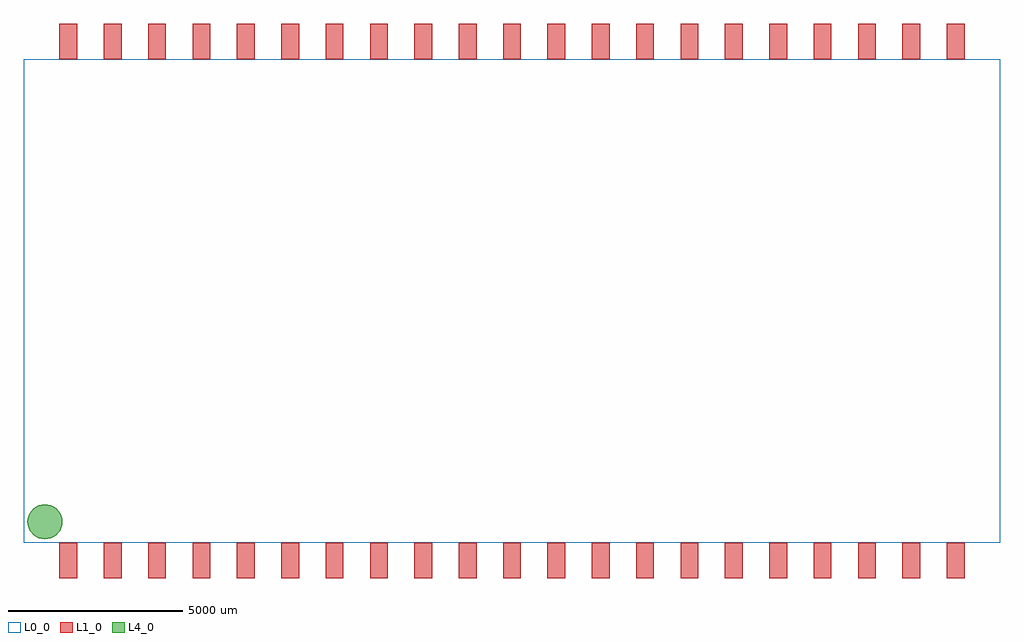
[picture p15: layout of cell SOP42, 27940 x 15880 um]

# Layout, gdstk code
import gdstk
lib = gdstk.Library(unit=1e-6, precision=1e-09)
def R(c, l, rs):  # rectangles x0, y0, x1, y1
    for r in rs: c.add(gdstk.rectangle(r[:2], r[2:], *l))
def A(c, l, x, y, w, h, nx, ny, dx, dy):  # array of equal rectangles
    R(c, l, [(x+i*dx, y+j*dy, x+i*dx+w, y+j*dy+h) for i in range(nx) for j in range(ny)])
def P(c, l, *ps):  # polygons
    for p in ps: c.add(gdstk.Polygon(p, *l))
L0_0 = (0, 0)
L1_0 = (1, 0)
L4_0 = (4, 0)
L99_1 = (99, 1)
L99_2 = (99, 2)
L99_3 = (99, 3)
L99_4 = (99, 4)
L99_5 = (99, 5)
L99_6 = (99, 6)
L99_7 = (99, 7)
L99_8 = (99, 8)
L99_9 = (99, 9)
L99_10 = (99, 10)
L99_11 = (99, 11)
L99_12 = (99, 12)
L99_13 = (99, 13)
L99_14 = (99, 14)
L99_15 = (99, 15)
L99_16 = (99, 16)
L99_17 = (99, 17)
L99_18 = (99, 18)
L99_19 = (99, 19)
L99_20 = (99, 20)
L99_21 = (99, 21)
L99_22 = (99, 22)
L99_23 = (99, 23)
L99_24 = (99, 24)
L99_25 = (99, 25)
L99_26 = (99, 26)
L99_27 = (99, 27)
L99_28 = (99, 28)
L99_29 = (99, 29)
L99_30 = (99, 30)
L99_31 = (99, 31)
L99_32 = (99, 32)
L99_33 = (99, 33)
L99_34 = (99, 34)
L99_35 = (99, 35)
L99_36 = (99, 36)
L99_37 = (99, 37)
L99_38 = (99, 38)
L99_39 = (99, 39)
L99_40 = (99, 40)
L99_41 = (99, 41)
L99_42 = (99, 42)

sop42 = lib.new_cell('SOP42')
R(sop42, L0_0, [(0,0,27940,13840)])
A(sop42, L1_0, 1015, -1020, 510, 1020, 21, 2, 1270, 14860)
P(sop42, L4_0, [(1100,600),(1092.404,513.176),(1069.846,428.99),(1033.013,350),(983.022,278.606),(921.394,216.978),(850,166.987),(771.01,130.154),(686.824,107.596),(600,100),(513.176,107.596),(428.99,130.154),(350,166.987),(278.606,216.978),(216.978,278.606),(166.987,350),(130.154,428.99),(107.596,513.176),(100,600),(107.596,686.824),(130.154,771.01),(166.987,850),(216.978,921.394),(278.606,983.022),(350,1033.013),(428.99,1069.846),(513.176,1092.404),(600,1100),(686.824,1092.404),(771.01,1069.846),(850,1033.013),(921.394,983.022),(983.022,921.394),(1033.013,850),(1069.846,771.01),(1092.404,686.824)])
sop42.add(gdstk.FlexPath([(1525,0),(1015,0)], 0, ends="round", simple_path=True, layer=99, datatype=1))  # L99_1
sop42.add(gdstk.FlexPath([(2795,0),(2285,0)], 0, ends="round", simple_path=True, layer=99, datatype=2))  # L99_2
sop42.add(gdstk.FlexPath([(4065,0),(3555,0)], 0, ends="round", simple_path=True, layer=99, datatype=3))  # L99_3
sop42.add(gdstk.FlexPath([(5335,0),(4825,0)], 0, ends="round", simple_path=True, layer=99, datatype=4))  # L99_4
sop42.add(gdstk.FlexPath([(6605,0),(6095,0)], 0, ends="round", simple_path=True, layer=99, datatype=5))  # L99_5
sop42.add(gdstk.FlexPath([(7875,0),(7365,0)], 0, ends="round", simple_path=True, layer=99, datatype=6))  # L99_6
sop42.add(gdstk.FlexPath([(9145,0),(8635,0)], 0, ends="round", simple_path=True, layer=99, datatype=7))  # L99_7
sop42.add(gdstk.FlexPath([(10415,0),(9905,0)], 0, ends="round", simple_path=True, layer=99, datatype=8))  # L99_8
sop42.add(gdstk.FlexPath([(11685,0),(11175,0)], 0, ends="round", simple_path=True, layer=99, datatype=9))  # L99_9
sop42.add(gdstk.FlexPath([(12955,0),(12445,0)], 0, ends="round", simple_path=True, layer=99, datatype=10))  # L99_10
sop42.add(gdstk.FlexPath([(14225,0),(13715,0)], 0, ends="round", simple_path=True, layer=99, datatype=11))  # L99_11
sop42.add(gdstk.FlexPath([(15495,0),(14985,0)], 0, ends="round", simple_path=True, layer=99, datatype=12))  # L99_12
sop42.add(gdstk.FlexPath([(16765,0),(16255,0)], 0, ends="round", simple_path=True, layer=99, datatype=13))  # L99_13
sop42.add(gdstk.FlexPath([(18035,0),(17525,0)], 0, ends="round", simple_path=True, layer=99, datatype=14))  # L99_14
sop42.add(gdstk.FlexPath([(19305,0),(18795,0)], 0, ends="round", simple_path=True, layer=99, datatype=15))  # L99_15
sop42.add(gdstk.FlexPath([(20575,0),(20065,0)], 0, ends="round", simple_path=True, layer=99, datatype=16))  # L99_16
sop42.add(gdstk.FlexPath([(21845,0),(21335,0)], 0, ends="round", simple_path=True, layer=99, datatype=17))  # L99_17
sop42.add(gdstk.FlexPath([(23115,0),(22605,0)], 0, ends="round", simple_path=True, layer=99, datatype=18))  # L99_18
sop42.add(gdstk.FlexPath([(24385,0),(23875,0)], 0, ends="round", simple_path=True, layer=99, datatype=19))  # L99_19
sop42.add(gdstk.FlexPath([(25655,0),(25145,0)], 0, ends="round", simple_path=True, layer=99, datatype=20))  # L99_20
sop42.add(gdstk.FlexPath([(26925,0),(26415,0)], 0, ends="round", simple_path=True, layer=99, datatype=21))  # L99_21
sop42.add(gdstk.FlexPath([(1015,13840),(1525,13840)], 0, ends="round", simple_path=True, layer=99, datatype=42))  # L99_42
sop42.add(gdstk.FlexPath([(2285,13840),(2795,13840)], 0, ends="round", simple_path=True, layer=99, datatype=41))  # L99_41
sop42.add(gdstk.FlexPath([(3555,13840),(4065,13840)], 0, ends="round", simple_path=True, layer=99, datatype=40))  # L99_40
sop42.add(gdstk.FlexPath([(4825,13840),(5335,13840)], 0, ends="round", simple_path=True, layer=99, datatype=39))  # L99_39
sop42.add(gdstk.FlexPath([(6095,13840),(6605,13840)], 0, ends="round", simple_path=True, layer=99, datatype=38))  # L99_38
sop42.add(gdstk.FlexPath([(7365,13840),(7875,13840)], 0, ends="round", simple_path=True, layer=99, datatype=37))  # L99_37
sop42.add(gdstk.FlexPath([(8635,13840),(9145,13840)], 0, ends="round", simple_path=True, layer=99, datatype=36))  # L99_36
sop42.add(gdstk.FlexPath([(9905,13840),(10415,13840)], 0, ends="round", simple_path=True, layer=99, datatype=35))  # L99_35
sop42.add(gdstk.FlexPath([(11175,13840),(11685,13840)], 0, ends="round", simple_path=True, layer=99, datatype=34))  # L99_34
sop42.add(gdstk.FlexPath([(12445,13840),(12955,13840)], 0, ends="round", simple_path=True, layer=99, datatype=33))  # L99_33
sop42.add(gdstk.FlexPath([(13715,13840),(14225,13840)], 0, ends="round", simple_path=True, layer=99, datatype=32))  # L99_32
sop42.add(gdstk.FlexPath([(14985,13840),(15495,13840)], 0, ends="round", simple_path=True, layer=99, datatype=31))  # L99_31
sop42.add(gdstk.FlexPath([(16255,13840),(16765,13840)], 0, ends="round", simple_path=True, layer=99, datatype=30))  # L99_30
sop42.add(gdstk.FlexPath([(17525,13840),(18035,13840)], 0, ends="round", simple_path=True, layer=99, datatype=29))  # L99_29
sop42.add(gdstk.FlexPath([(18795,13840),(19305,13840)], 0, ends="round", simple_path=True, layer=99, datatype=28))  # L99_28
sop42.add(gdstk.FlexPath([(20065,13840),(20575,13840)], 0, ends="round", simple_path=True, layer=99, datatype=27))  # L99_27
sop42.add(gdstk.FlexPath([(21335,13840),(21845,13840)], 0, ends="round", simple_path=True, layer=99, datatype=26))  # L99_26
sop42.add(gdstk.FlexPath([(22605,13840),(23115,13840)], 0, ends="round", simple_path=True, layer=99, datatype=25))  # L99_25
sop42.add(gdstk.FlexPath([(23875,13840),(24385,13840)], 0, ends="round", simple_path=True, layer=99, datatype=24))  # L99_24
sop42.add(gdstk.FlexPath([(25145,13840),(25655,13840)], 0, ends="round", simple_path=True, layer=99, datatype=23))  # L99_23
sop42.add(gdstk.FlexPath([(26415,13840),(26925,13840)], 0, ends="round", simple_path=True, layer=99, datatype=22))  # L99_22

lib.write_gds('SOP42.gds')
